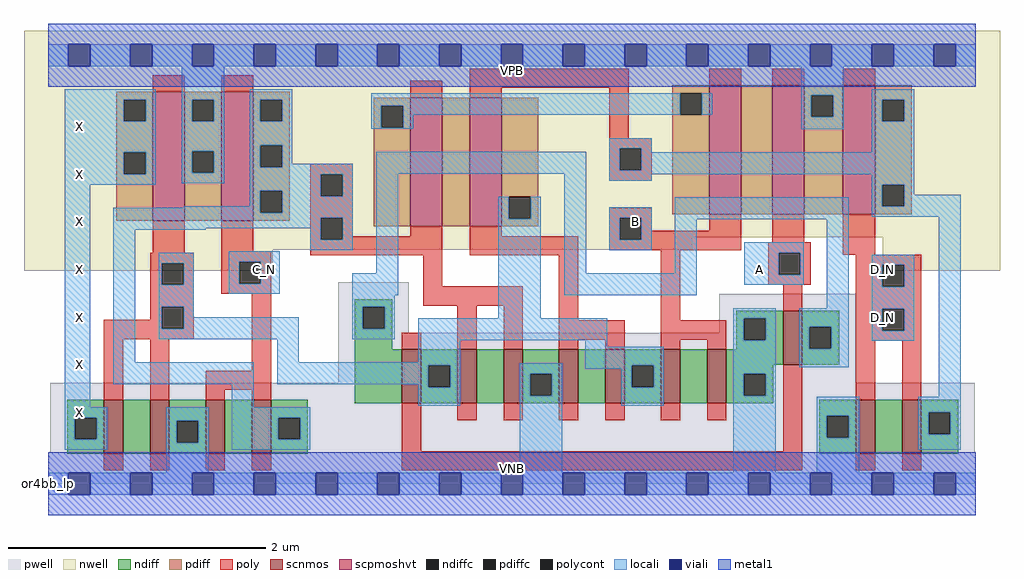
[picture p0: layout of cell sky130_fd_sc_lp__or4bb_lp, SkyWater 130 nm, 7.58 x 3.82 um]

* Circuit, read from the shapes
.subckt sky130_fd_sc_lp__or4bb_lp A B C_N D_N VGND VNB VPB VPWR X
XM1 n1 n2 X VNB sky130_fd_pr__nfet_01v8 w=0.42 l=0.15
XM2 VGND n2 n1 VNB sky130_fd_pr__nfet_01v8 w=0.42 l=0.15
XM3 n3 C_N VGND VNB sky130_fd_pr__nfet_01v8 w=0.42 l=0.15
XM4 n4 C_N n3 VNB sky130_fd_pr__nfet_01v8 w=0.42 l=0.15
XM5 n2 A n5 VNB sky130_fd_pr__nfet_01v8 w=0.42 l=0.15
XM6 n6 n4 n2 VNB sky130_fd_pr__nfet_01v8 w=0.42 l=0.15
XM7 VGND n4 n6 VNB sky130_fd_pr__nfet_01v8 w=0.42 l=0.15
XM8 n7 n8 VGND VNB sky130_fd_pr__nfet_01v8 w=0.42 l=0.15
XM9 n2 n8 n7 VNB sky130_fd_pr__nfet_01v8 w=0.42 l=0.15
XM10 n9 B n2 VNB sky130_fd_pr__nfet_01v8 w=0.42 l=0.15
XM11 VGND B n9 VNB sky130_fd_pr__nfet_01v8 w=0.42 l=0.15
XM12 n5 A VGND VNB sky130_fd_pr__nfet_01v8 w=0.42 l=0.15
XM13 n10 D_N VGND VNB sky130_fd_pr__nfet_01v8 w=0.42 l=0.15
XM14 n8 D_N n10 VNB sky130_fd_pr__nfet_01v8 w=0.42 l=0.15
XM15 VPWR n2 X VPB sky130_fd_pr__pfet_01v8_hvt w=1 l=0.25
XM16 n4 C_N VPWR VPB sky130_fd_pr__pfet_01v8_hvt w=1 l=0.25
XM17 n11 n4 n12 VPB sky130_fd_pr__pfet_01v8_hvt w=1 l=0.25
XM18 n2 n8 n11 VPB sky130_fd_pr__pfet_01v8_hvt w=1 l=0.25
XM19 n13 B n12 VPB sky130_fd_pr__pfet_01v8_hvt w=1 l=0.25
XM20 VPWR A n13 VPB sky130_fd_pr__pfet_01v8_hvt w=1 l=0.25
XM21 n8 D_N VPWR VPB sky130_fd_pr__pfet_01v8_hvt w=1 l=0.25
.ends

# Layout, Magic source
magic
tech sky130A
magscale 1 2
<< nwell >>
rect -38 383 1478 704
rect -38 364 1000 383
rect -38 331 348 364
rect 1296 331 1478 383
<< pwell >>
rect 450 235 560 313
rect 1042 235 1254 295
rect 450 157 1254 235
rect 3 49 1439 157
rect 0 0 1440 49
<< scnmos >>
rect 86 47 116 131
rect 158 47 188 131
rect 244 47 274 131
rect 316 47 346 131
rect 549 125 579 209
rect 635 125 665 209
rect 707 125 737 209
rect 793 125 823 209
rect 865 125 895 209
rect 951 125 981 209
rect 1023 125 1053 209
rect 1141 185 1171 269
rect 1254 47 1284 131
rect 1326 47 1356 131
<< scpmoshvt >>
rect 162 409 212 609
rect 268 409 318 609
rect 562 400 612 600
rect 654 400 704 600
rect 1026 419 1076 619
rect 1124 419 1174 619
rect 1234 419 1284 619
<< ndiff >>
rect 476 275 534 287
rect 476 241 488 275
rect 522 241 534 275
rect 476 209 534 241
rect 1068 257 1141 269
rect 1068 223 1080 257
rect 1114 223 1141 257
rect 1068 209 1141 223
rect 29 103 86 131
rect 29 69 41 103
rect 75 69 86 103
rect 29 47 86 69
rect 116 47 158 131
rect 188 98 244 131
rect 188 64 199 98
rect 233 64 244 98
rect 188 47 244 64
rect 274 47 316 131
rect 346 103 403 131
rect 476 125 549 209
rect 579 184 635 209
rect 579 150 590 184
rect 624 150 635 184
rect 579 125 635 150
rect 665 125 707 209
rect 737 171 793 209
rect 737 137 748 171
rect 782 137 793 171
rect 737 125 793 137
rect 823 125 865 209
rect 895 184 951 209
rect 895 150 906 184
rect 940 150 951 184
rect 895 125 951 150
rect 981 125 1023 209
rect 1053 185 1141 209
rect 1171 244 1228 269
rect 1171 210 1182 244
rect 1216 210 1228 244
rect 1171 185 1228 210
rect 1053 171 1126 185
rect 1053 137 1080 171
rect 1114 137 1126 171
rect 1053 125 1126 137
rect 346 69 357 103
rect 391 69 403 103
rect 346 47 403 69
rect 1197 106 1254 131
rect 1197 72 1209 106
rect 1243 72 1254 106
rect 1197 47 1254 72
rect 1284 47 1326 131
rect 1356 111 1413 131
rect 1356 77 1367 111
rect 1401 77 1413 111
rect 1356 47 1413 77
<< pdiff >>
rect 105 597 162 609
rect 105 563 117 597
rect 151 563 162 597
rect 105 515 162 563
rect 105 481 117 515
rect 151 481 162 515
rect 105 409 162 481
rect 212 597 268 609
rect 212 563 223 597
rect 257 563 268 597
rect 212 517 268 563
rect 212 483 223 517
rect 257 483 268 517
rect 212 409 268 483
rect 318 597 375 609
rect 318 563 329 597
rect 363 563 375 597
rect 318 526 375 563
rect 318 492 329 526
rect 363 492 375 526
rect 505 587 562 600
rect 505 553 517 587
rect 551 553 562 587
rect 318 455 375 492
rect 318 421 329 455
rect 363 421 375 455
rect 318 409 375 421
rect 505 400 562 553
rect 612 400 654 600
rect 704 446 761 600
rect 969 607 1026 619
rect 969 573 981 607
rect 1015 573 1026 607
rect 704 412 715 446
rect 749 412 761 446
rect 704 400 761 412
rect 969 419 1026 573
rect 1076 419 1124 619
rect 1174 604 1234 619
rect 1174 570 1185 604
rect 1219 570 1234 604
rect 1174 419 1234 570
rect 1284 597 1341 619
rect 1284 563 1295 597
rect 1329 563 1341 597
rect 1284 465 1341 563
rect 1284 431 1295 465
rect 1329 431 1341 465
rect 1284 419 1341 431
<< ndiffc >>
rect 488 241 522 275
rect 1080 223 1114 257
rect 41 69 75 103
rect 199 64 233 98
rect 590 150 624 184
rect 748 137 782 171
rect 906 150 940 184
rect 1182 210 1216 244
rect 1080 137 1114 171
rect 357 69 391 103
rect 1209 72 1243 106
rect 1367 77 1401 111
<< pdiffc >>
rect 117 563 151 597
rect 117 481 151 515
rect 223 563 257 597
rect 223 483 257 517
rect 329 563 363 597
rect 329 492 363 526
rect 517 553 551 587
rect 329 421 363 455
rect 981 573 1015 607
rect 715 412 749 446
rect 1185 570 1219 604
rect 1295 563 1329 597
rect 1295 431 1329 465
<< poly >>
rect 162 609 212 635
rect 268 609 318 635
rect 562 600 612 626
rect 654 615 901 645
rect 1026 619 1076 645
rect 1124 619 1174 645
rect 1234 619 1284 645
rect 654 600 704 615
rect 407 481 473 497
rect 407 447 423 481
rect 457 447 473 481
rect 407 413 473 447
rect 162 359 212 409
rect 268 361 318 409
rect 407 379 423 413
rect 457 385 473 413
rect 871 537 901 615
rect 871 521 937 537
rect 871 487 887 521
rect 921 487 937 521
rect 871 471 937 487
rect 871 413 937 429
rect 562 385 612 400
rect 457 379 612 385
rect 158 343 226 359
rect 158 309 176 343
rect 210 309 226 343
rect 158 275 226 309
rect 268 345 346 361
rect 407 355 612 379
rect 654 385 704 400
rect 654 355 823 385
rect 871 379 887 413
rect 921 393 937 413
rect 1026 393 1076 419
rect 921 379 1076 393
rect 871 363 1076 379
rect 1124 375 1174 419
rect 268 311 296 345
rect 330 311 346 345
rect 268 295 346 311
rect 158 255 176 275
rect 86 241 176 255
rect 210 241 226 275
rect 86 225 226 241
rect 86 131 116 225
rect 158 131 188 225
rect 316 176 346 295
rect 582 307 612 355
rect 244 146 346 176
rect 244 131 274 146
rect 316 131 346 146
rect 582 277 737 307
rect 549 209 579 235
rect 635 209 665 277
rect 707 209 737 277
rect 793 254 823 355
rect 951 254 981 363
rect 1118 359 1184 375
rect 1118 325 1134 359
rect 1168 325 1184 359
rect 1234 356 1284 419
rect 1118 309 1184 325
rect 1254 340 1356 356
rect 1141 269 1171 309
rect 1254 306 1295 340
rect 1329 306 1356 340
rect 1254 272 1356 306
rect 793 224 895 254
rect 793 209 823 224
rect 865 209 895 224
rect 951 224 1053 254
rect 951 209 981 224
rect 1023 209 1053 224
rect 1254 238 1295 272
rect 1329 238 1356 272
rect 1254 222 1356 238
rect 549 51 579 125
rect 635 99 665 125
rect 707 99 737 125
rect 793 99 823 125
rect 865 99 895 125
rect 951 99 981 125
rect 1023 99 1053 125
rect 1141 51 1171 185
rect 1254 131 1284 222
rect 1326 131 1356 222
rect 86 21 116 47
rect 158 21 188 47
rect 244 21 274 47
rect 316 21 346 47
rect 549 21 1171 51
rect 1254 21 1284 47
rect 1326 21 1356 47
<< polycont >>
rect 423 447 457 481
rect 423 379 457 413
rect 887 487 921 521
rect 176 309 210 343
rect 887 379 921 413
rect 296 311 330 345
rect 176 241 210 275
rect 1134 325 1168 359
rect 1295 306 1329 340
rect 1295 238 1329 272
<< locali >>
rect 0 649 31 683
rect 65 649 127 683
rect 161 649 223 683
rect 257 649 319 683
rect 353 649 415 683
rect 449 649 511 683
rect 545 649 607 683
rect 641 649 703 683
rect 737 649 799 683
rect 833 649 895 683
rect 929 649 991 683
rect 1025 649 1087 683
rect 1121 649 1183 683
rect 1217 649 1279 683
rect 1313 649 1375 683
rect 1409 649 1440 683
rect 25 597 167 613
rect 25 563 117 597
rect 151 563 167 597
rect 25 515 167 563
rect 25 481 117 515
rect 151 481 167 515
rect 25 465 167 481
rect 207 597 273 649
rect 207 563 223 597
rect 257 563 273 597
rect 207 517 273 563
rect 207 483 223 517
rect 257 483 273 517
rect 207 467 273 483
rect 313 597 379 613
rect 313 563 329 597
rect 363 563 379 597
rect 313 526 379 563
rect 501 587 981 607
rect 501 553 517 587
rect 551 573 981 587
rect 1015 573 1031 607
rect 1169 604 1235 649
rect 551 553 567 573
rect 501 552 567 553
rect 1169 570 1185 604
rect 1219 570 1235 604
rect 1169 551 1235 570
rect 1279 597 1345 613
rect 1279 563 1295 597
rect 1329 563 1345 597
rect 313 492 329 526
rect 363 497 379 526
rect 871 521 937 537
rect 363 492 473 497
rect 313 481 473 492
rect 25 119 65 465
rect 313 455 423 481
rect 313 431 329 455
rect 210 429 329 431
rect 101 421 329 429
rect 363 447 423 455
rect 457 447 473 481
rect 363 421 473 447
rect 101 413 473 421
rect 101 397 423 413
rect 101 395 244 397
rect 101 189 135 395
rect 407 379 423 397
rect 457 379 473 413
rect 407 363 473 379
rect 509 482 835 516
rect 171 343 226 359
rect 171 309 176 343
rect 210 309 226 343
rect 171 275 226 309
rect 280 345 359 361
rect 280 311 296 345
rect 330 311 359 345
rect 509 327 543 482
rect 280 295 359 311
rect 171 241 176 275
rect 210 259 226 275
rect 472 293 543 327
rect 699 412 715 446
rect 749 412 765 446
rect 472 275 538 293
rect 210 241 389 259
rect 171 225 389 241
rect 472 241 488 275
rect 522 241 538 275
rect 699 257 765 412
rect 801 327 835 482
rect 871 487 887 521
rect 921 515 937 521
rect 1279 515 1345 563
rect 921 487 1345 515
rect 871 481 1345 487
rect 871 471 937 481
rect 1279 465 1345 481
rect 871 413 937 430
rect 871 379 887 413
rect 921 379 937 413
rect 871 363 937 379
rect 973 411 1243 445
rect 1279 431 1295 465
rect 1329 449 1345 465
rect 1329 431 1417 449
rect 1279 415 1417 431
rect 973 327 1007 411
rect 801 293 1007 327
rect 1081 359 1173 375
rect 1081 325 1134 359
rect 1168 325 1173 359
rect 1081 309 1173 325
rect 1209 273 1243 411
rect 1064 257 1130 273
rect 472 225 538 241
rect 355 189 389 225
rect 574 223 868 257
rect 574 189 640 223
rect 101 155 319 189
rect 355 184 640 189
rect 834 213 868 223
rect 1064 223 1080 257
rect 1114 223 1130 257
rect 355 155 590 184
rect 285 119 319 155
rect 574 150 590 155
rect 624 150 640 184
rect 574 121 640 150
rect 732 171 798 187
rect 834 184 956 213
rect 834 179 906 184
rect 732 137 748 171
rect 782 137 798 171
rect 25 103 91 119
rect 25 69 41 103
rect 75 69 91 103
rect 25 53 91 69
rect 183 98 249 119
rect 183 64 199 98
rect 233 64 249 98
rect 183 17 249 64
rect 285 103 407 119
rect 285 69 357 103
rect 391 69 407 103
rect 285 53 407 69
rect 732 17 798 137
rect 890 150 906 179
rect 940 150 956 184
rect 890 121 956 150
rect 1064 171 1130 223
rect 1166 244 1243 273
rect 1166 210 1182 244
rect 1216 210 1243 244
rect 1279 340 1345 356
rect 1279 306 1295 340
rect 1329 306 1345 340
rect 1279 272 1345 306
rect 1279 238 1295 272
rect 1329 238 1345 272
rect 1279 222 1345 238
rect 1166 181 1243 210
rect 1064 137 1080 171
rect 1114 137 1130 171
rect 1064 17 1130 137
rect 1383 135 1417 415
rect 1193 106 1259 135
rect 1193 72 1209 106
rect 1243 72 1259 106
rect 1193 17 1259 72
rect 1351 111 1417 135
rect 1351 77 1367 111
rect 1401 77 1417 111
rect 1351 53 1417 77
rect 0 -17 31 17
rect 65 -17 127 17
rect 161 -17 223 17
rect 257 -17 319 17
rect 353 -17 415 17
rect 449 -17 511 17
rect 545 -17 607 17
rect 641 -17 703 17
rect 737 -17 799 17
rect 833 -17 895 17
rect 929 -17 991 17
rect 1025 -17 1087 17
rect 1121 -17 1183 17
rect 1217 -17 1279 17
rect 1313 -17 1375 17
rect 1409 -17 1440 17
<< viali >>
rect 31 649 65 683
rect 127 649 161 683
rect 223 649 257 683
rect 319 649 353 683
rect 415 649 449 683
rect 511 649 545 683
rect 607 649 641 683
rect 703 649 737 683
rect 799 649 833 683
rect 895 649 929 683
rect 991 649 1025 683
rect 1087 649 1121 683
rect 1183 649 1217 683
rect 1279 649 1313 683
rect 1375 649 1409 683
rect 31 -17 65 17
rect 127 -17 161 17
rect 223 -17 257 17
rect 319 -17 353 17
rect 415 -17 449 17
rect 511 -17 545 17
rect 607 -17 641 17
rect 703 -17 737 17
rect 799 -17 833 17
rect 895 -17 929 17
rect 991 -17 1025 17
rect 1087 -17 1121 17
rect 1183 -17 1217 17
rect 1279 -17 1313 17
rect 1375 -17 1409 17
<< metal1 >>
rect 0 683 1440 715
rect 0 649 31 683
rect 65 649 127 683
rect 161 649 223 683
rect 257 649 319 683
rect 353 649 415 683
rect 449 649 511 683
rect 545 649 607 683
rect 641 649 703 683
rect 737 649 799 683
rect 833 649 895 683
rect 929 649 991 683
rect 1025 649 1087 683
rect 1121 649 1183 683
rect 1217 649 1279 683
rect 1313 649 1375 683
rect 1409 649 1440 683
rect 0 617 1440 649
rect 0 17 1440 49
rect 0 -17 31 17
rect 65 -17 127 17
rect 161 -17 223 17
rect 257 -17 319 17
rect 353 -17 415 17
rect 449 -17 511 17
rect 545 -17 607 17
rect 641 -17 703 17
rect 737 -17 799 17
rect 833 -17 895 17
rect 929 -17 991 17
rect 1025 -17 1087 17
rect 1121 -17 1183 17
rect 1217 -17 1279 17
rect 1313 -17 1375 17
rect 1409 -17 1440 17
rect 0 -49 1440 -17
<< labels >>
flabel pwell s 0 0 1440 49 0 FreeSans 200 0 0 0 VNB
port 6 nsew ground bidirectional
flabel nwell s 0 617 1440 666 0 FreeSans 200 0 0 0 VPB
port 7 nsew power bidirectional
rlabel comment s 0 0 0 0 4 or4bb_lp
flabel metal1 s 0 617 1440 666 0 FreeSans 340 0 0 0 VPWR
port 8 nsew power bidirectional
flabel metal1 s 0 0 1440 49 0 FreeSans 340 0 0 0 VGND
port 5 nsew ground bidirectional
flabel locali s 1279 242 1313 276 0 FreeSans 340 0 0 0 D_N
port 4 nsew signal input
flabel locali s 1279 316 1313 350 0 FreeSans 340 0 0 0 D_N
port 4 nsew signal input
flabel locali s 319 316 353 350 0 FreeSans 340 0 0 0 C_N
port 3 nsew signal input
flabel locali s 895 390 929 424 0 FreeSans 340 0 0 0 B
port 2 nsew signal input
flabel locali s 1087 316 1121 350 0 FreeSans 340 0 0 0 A
port 1 nsew signal input
flabel locali s 31 94 65 128 0 FreeSans 340 0 0 0 X
port 9 nsew signal output
flabel locali s 31 168 65 202 0 FreeSans 340 0 0 0 X
port 9 nsew signal output
flabel locali s 31 242 65 276 0 FreeSans 340 0 0 0 X
port 9 nsew signal output
flabel locali s 31 316 65 350 0 FreeSans 340 0 0 0 X
port 9 nsew signal output
flabel locali s 31 390 65 424 0 FreeSans 340 0 0 0 X
port 9 nsew signal output
flabel locali s 31 464 65 498 0 FreeSans 340 0 0 0 X
port 9 nsew signal output
flabel locali s 31 538 65 572 0 FreeSans 340 0 0 0 X
port 9 nsew signal output
<< properties >>
string LEFsite unit
string LEFclass CORE
string FIXED_BBOX 0 0 1440 666
string GDS_FILE $PDKPATH/libs.ref/sky130_fd_sc_lp/gds/sky130_fd_sc_lp.gds
string LEFsymmetry X Y R90
string GDS_END 6669272
string GDS_START 6658636
<< end >>
